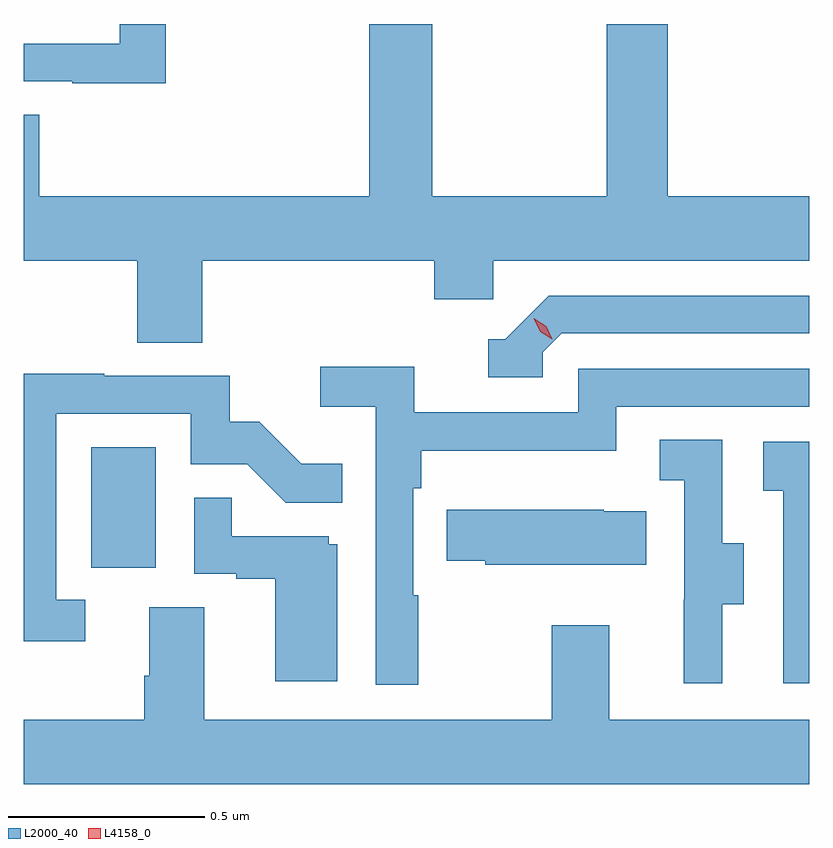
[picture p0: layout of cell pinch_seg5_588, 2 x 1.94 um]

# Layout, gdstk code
import gdstk
lib = gdstk.Library(unit=1e-6, precision=1e-09)
def R(c, l, rs):  # rectangles x0, y0, x1, y1
    for r in rs: c.add(gdstk.rectangle(r[:2], r[2:], *l))
def P(c, l, *ps):  # polygons
    for p in ps: c.add(gdstk.Polygon(p, *l))
L2000_40 = (2000, 40)
L4158_0 = (4158, 0)

pinch_seg5_588 = lib.new_cell('pinch_seg5_588')
R(pinch_seg5_588, L2000_40, [(1114.148,862.638,1114.312,862.945)])
P(pinch_seg5_588, L2000_40, [(1114.337,864.023),(1114.221,864.023),(1114.221,863.973),(1113.976,863.973),(1113.976,863.877),(1114.099,863.877),(1114.099,863.872),(1114.337,863.872)],
  [(1114.43,863.42),(1115.021,863.42),(1115.021,863.322),(1115.172,863.322),(1115.172,863.42),(1115.976,863.42),(1115.976,863.584),(1115.616,863.584),(1115.616,864.023),(1115.461,864.023),(1115.461,863.584),(1115.016,863.584),(1115.016,864.023),(1114.856,864.023),(1114.856,863.584),(1114.016,863.584),(1114.016,863.792),(1113.976,863.792),(1113.976,863.42),(1114.265,863.42),(1114.265,863.212),(1114.43,863.212)],
  [(1115.298,863.187),(1115.346,863.235),(1115.976,863.235),(1115.976,863.331),(1115.313,863.331),(1115.202,863.22),(1115.159,863.22),(1115.159,863.124),(1115.298,863.124)],
  [(1114.981,862.568),(1114.968,862.568),(1114.968,862.841),(1114.988,862.841),(1114.988,862.937),(1115.484,862.937),(1115.484,863.049),(1115.976,863.049),(1115.976,863.145),(1115.388,863.145),(1115.388,863.034),(1114.97,863.034),(1114.97,863.15),(1114.731,863.15),(1114.731,863.048),(1114.872,863.048),(1114.872,862.341),(1114.981,862.341)],
  [(1114.132,862.557),(1114.059,862.557),(1114.059,863.031),(1114.401,863.031),(1114.401,862.902),(1114.545,862.902),(1114.643,862.804),(1114.787,862.804),(1114.787,862.903),(1114.683,862.903),(1114.576,863.01),(1114.5,863.01),(1114.5,863.127),(1114.181,863.127),(1114.181,863.132),(1113.976,863.132),(1113.976,862.452),(1114.132,862.452)],
  [(1115.755,862.546),(1115.809,862.546),(1115.809,862.701),(1115.754,862.701),(1115.754,862.964),(1115.595,862.964),(1115.595,862.861),(1115.658,862.861),(1115.658,862.557),(1115.657,862.557),(1115.657,862.344),(1115.755,862.344)],
  [(1115.976,862.959),(1115.859,862.959),(1115.859,862.835),(1115.91,862.835),(1115.91,862.344),(1115.976,862.344)],
  [(1114.774,862.698),(1114.752,862.698),(1114.752,862.719),(1114.505,862.719),(1114.505,862.817),(1114.41,862.817),(1114.41,862.623),(1114.517,862.623),(1114.517,862.611),(1114.616,862.611),(1114.616,862.35),(1114.774,862.35)],
  [(1115.561,862.783),(1115.453,862.783),(1115.453,862.786),(1115.053,862.786),(1115.053,862.657),(1115.151,862.657),(1115.151,862.646),(1115.561,862.646)],
  [(1115.976,862.252),(1115.467,862.252),(1115.467,862.492),(1115.32,862.492),(1115.32,862.252),(1114.435,862.252),(1114.435,862.538),(1114.295,862.538),(1114.295,862.364),(1114.283,862.364),(1114.283,862.252),(1113.976,862.252),(1113.976,862.088),(1115.976,862.088)])
P(pinch_seg5_588, L4158_0, [(1115.321,863.22),(1115.291,863.24),(1115.275,863.274),(1115.275,863.274),(1115.275,863.274),(1115.306,863.253),(1115.321,863.22),(1115.321,863.22)])

lib.write_gds('pinch_seg5_588.gds')
